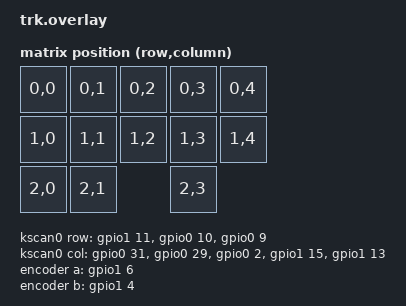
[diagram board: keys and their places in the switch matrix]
#include <dt-bindings/zmk/matrix_transform.h>

/ {
    chosen {
        zmk,kscan = &kscan0;
		zmk,matrix_transform = &default_transform;
    };

	default_transform: matrix_transform {
		compatible = "zmk,matrix-transform";
		rows = <3>;
		columns = <5>;
		map = <
			RC(0,0) RC(0,1) RC(0,2) RC(0,3) RC(0,4)
			RC(1,0) RC(1,1) RC(1,2) RC(1,3) RC(1,4)
			RC(2,0) RC(2,1)         RC(2,3)
		>;
	};

    kscan0: kscan {
        compatible = "zmk,kscan-gpio-matrix";
        label = "KSCAN";
        diode-direction = "row2col";

        col-gpios
            = <&gpio0    31 GPIO_ACTIVE_HIGH>
            , <&gpio0    29 GPIO_ACTIVE_HIGH>
            , <&gpio0     2 GPIO_ACTIVE_HIGH>
            , <&gpio1    15 GPIO_ACTIVE_HIGH>
            , <&gpio1    13 GPIO_ACTIVE_HIGH>
            ;

        row-gpios
            = <&gpio1    11 (GPIO_ACTIVE_HIGH | GPIO_PULL_DOWN)>
            , <&gpio0    10 (GPIO_ACTIVE_HIGH | GPIO_PULL_DOWN)>
            , <&gpio0     9 (GPIO_ACTIVE_HIGH | GPIO_PULL_DOWN)>
            ;
    };

    encoder: encoder {
        compatible = "alps,ec11";
        label = "ENCODER";
        a-gpios = <&gpio1  6 (GPIO_ACTIVE_HIGH | GPIO_PULL_UP)>;
        b-gpios = <&gpio1  4 (GPIO_ACTIVE_HIGH | GPIO_PULL_UP)>;
        resolution = <2>;
    };

    sensors {
        compatible = "zmk,keymap-sensors";
        sensors = <&encoder>;
    };
};
 
